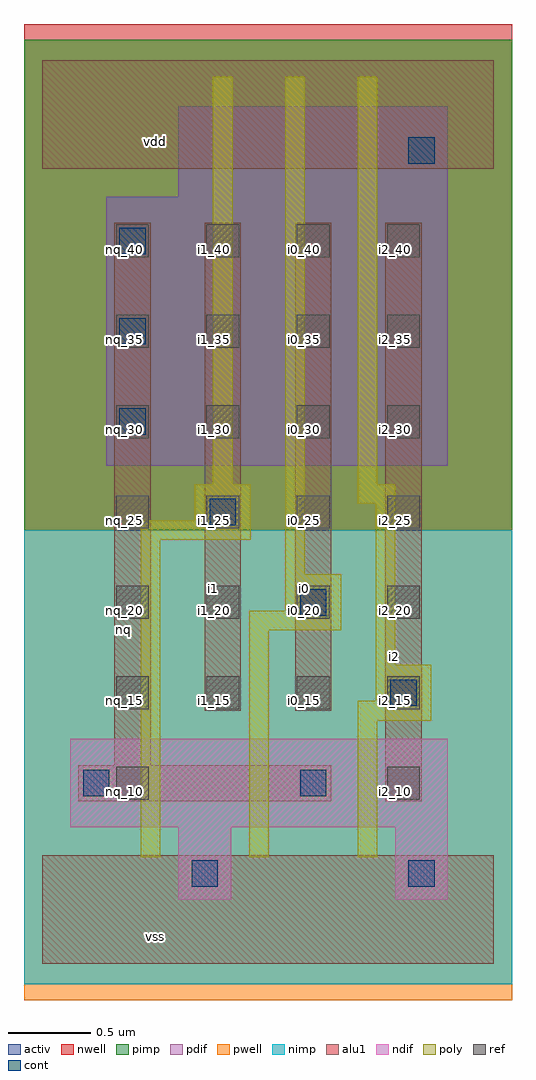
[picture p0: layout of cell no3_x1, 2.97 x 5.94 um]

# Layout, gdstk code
import gdstk
lib = gdstk.Library(unit=1e-6, precision=2.5e-09)
def R(c, l, rs):  # rectangles x0, y0, x1, y1
    for r in rs: c.add(gdstk.rectangle(r[:2], r[2:], *l))
def A(c, l, x, y, w, h, nx, ny, dx, dy):  # array of equal rectangles
    R(c, l, [(x+i*dx, y+j*dy, x+i*dx+w, y+j*dy+h) for i in range(nx) for j in range(ny)])
ndif = (3, 0)
pdif = (4, 0)
ref = (24, 0)
cont = (25, 0)
pwell = (41, 0)
nwell = (42, 0)
activ = (43, 0)
pimp = (44, 0)
nimp = (45, 0)
poly = (46, 0)
alu1 = (49, 0)

no3_x1 = lib.new_cell('no3_x1')
R(no3_x1, ndif, [(0.83,0.39,1.15,0.83), (0.83,0.39,1.15,0.83), (2.15,0.39,2.47,0.83), (2.15,0.39,2.47,0.83), (0.17,0.83,2.47,1.37), (0.17,0.83,2.47,1.37)])
R(no3_x1, pdif, [(0.39,3.03,2.47,4.67), (0.39,3.03,2.47,4.67), (0.83,4.67,2.47,5.22), (0.83,4.67,2.47,5.22)])
A(no3_x1, ref, 0.45, 1.55, 0.2, 0.2, 4, 6, 0.55, 0.55)
R(no3_x1, ref, [(0.45,1,0.65,1.2), (2.1,1,2.3,1.2)])
A(no3_x1, cont, 0.47, 3.22, 0.16, 0.16, 1, 3, 0, 0.55)
R(no3_x1, cont, [(0.91,0.47,1.07,0.63), (2.23,0.47,2.39,0.63), (0.25,1.02,0.41,1.18), (1.57,1.02,1.73,1.18), (2.12,1.57,2.28,1.73), (1.57,2.12,1.73,2.28), (1.02,2.67,1.18,2.83), (2.23,4.87,2.39,5.03)])
R(no3_x1, pwell, [(-0.11,-0.22,2.86,2.64)])
R(no3_x1, nwell, [(-0.11,2.64,2.86,5.72)])
R(no3_x1, activ, [(0.83,0.39,1.15,0.83), (0.83,0.39,1.15,0.83), (2.15,0.39,2.47,0.83), (2.15,0.39,2.47,0.83), (0.17,0.83,2.47,1.37), (0.17,0.83,2.47,1.37), (0.39,3.03,2.47,4.67), (0.39,3.03,2.47,4.67), (0.83,4.67,2.47,5.22), (0.83,4.67,2.47,5.22)])
R(no3_x1, pimp, [(-0.11,2.64,2.86,5.625)])
R(no3_x1, nimp, [(-0.11,-0.125,2.86,2.64)])
R(no3_x1, poly, [(0.6,0.65,0.72,2.58), (1.26,0.65,1.38,2.03), (1.92,0.65,2.04,1.48), (1.92,1.48,2.37,1.6), (2.03,1.6,2.37,1.82), (2.03,1.82,2.15,2.8), (1.26,2.03,1.82,2.15), (1.48,2.15,1.82,2.37), (1.48,2.37,1.6,5.4), (0.6,2.58,1.27,2.7), (0.93,2.7,1.27,2.92), (1.92,2.8,2.15,2.92), (1.04,2.92,1.16,5.4), (1.92,2.92,2.04,5.4)])
R(no3_x1, alu1, [(0,0,2.75,0.66), (0.22,0.99,1.76,1.21), (2.09,0.99,2.31,4.51), (0.44,1.21,0.66,4.51), (0.99,1.54,1.21,4.51), (1.54,1.54,1.76,4.51), (0,4.84,2.75,5.5)])
no3_x1.add(gdstk.Label('vss', (0.6875,0.165), layer=49, texttype=0))
no3_x1.add(gdstk.Label('i2', (2.145,1.87), layer=49, texttype=0))
no3_x1.add(gdstk.Label('i0', (1.595,2.2825), layer=49, texttype=0))
no3_x1.add(gdstk.Label('i1', (1.045,2.2825), layer=49, texttype=0))
no3_x1.add(gdstk.Label('nq', (0.495,2.035), layer=49, texttype=0))
no3_x1.add(gdstk.Label('vdd', (0.6875,5.005), layer=49, texttype=0))
no3_x1.add(gdstk.Label('nq_10', (0.5,1.05), layer=24, texttype=0))
no3_x1.add(gdstk.Label('i2_40', (2.15,4.35), layer=24, texttype=0))
no3_x1.add(gdstk.Label('i2_35', (2.15,3.8), layer=24, texttype=0))
no3_x1.add(gdstk.Label('i2_30', (2.15,3.25), layer=24, texttype=0))
no3_x1.add(gdstk.Label('i2_25', (2.15,2.7), layer=24, texttype=0))
no3_x1.add(gdstk.Label('i2_20', (2.15,2.15), layer=24, texttype=0))
no3_x1.add(gdstk.Label('i2_15', (2.15,1.6), layer=24, texttype=0))
no3_x1.add(gdstk.Label('i0_40', (1.6,4.35), layer=24, texttype=0))
no3_x1.add(gdstk.Label('i0_35', (1.6,3.8), layer=24, texttype=0))
no3_x1.add(gdstk.Label('i0_30', (1.6,3.25), layer=24, texttype=0))
no3_x1.add(gdstk.Label('i0_25', (1.6,2.7), layer=24, texttype=0))
no3_x1.add(gdstk.Label('i0_20', (1.6,2.15), layer=24, texttype=0))
no3_x1.add(gdstk.Label('i0_15', (1.6,1.6), layer=24, texttype=0))
no3_x1.add(gdstk.Label('i1_15', (1.05,1.6), layer=24, texttype=0))
no3_x1.add(gdstk.Label('i1_20', (1.05,2.15), layer=24, texttype=0))
no3_x1.add(gdstk.Label('i1_25', (1.05,2.7), layer=24, texttype=0))
no3_x1.add(gdstk.Label('i1_30', (1.05,3.25), layer=24, texttype=0))
no3_x1.add(gdstk.Label('i1_35', (1.05,3.8), layer=24, texttype=0))
no3_x1.add(gdstk.Label('i1_40', (1.05,4.35), layer=24, texttype=0))
no3_x1.add(gdstk.Label('nq_15', (0.5,1.6), layer=24, texttype=0))
no3_x1.add(gdstk.Label('nq_20', (0.5,2.15), layer=24, texttype=0))
no3_x1.add(gdstk.Label('nq_25', (0.5,2.7), layer=24, texttype=0))
no3_x1.add(gdstk.Label('nq_30', (0.5,3.25), layer=24, texttype=0))
no3_x1.add(gdstk.Label('nq_35', (0.5,3.8), layer=24, texttype=0))
no3_x1.add(gdstk.Label('nq_40', (0.5,4.35), layer=24, texttype=0))
no3_x1.add(gdstk.Label('i2_10', (2.15,1.05), layer=24, texttype=0))

lib.write_gds('no3_x1.gds')
